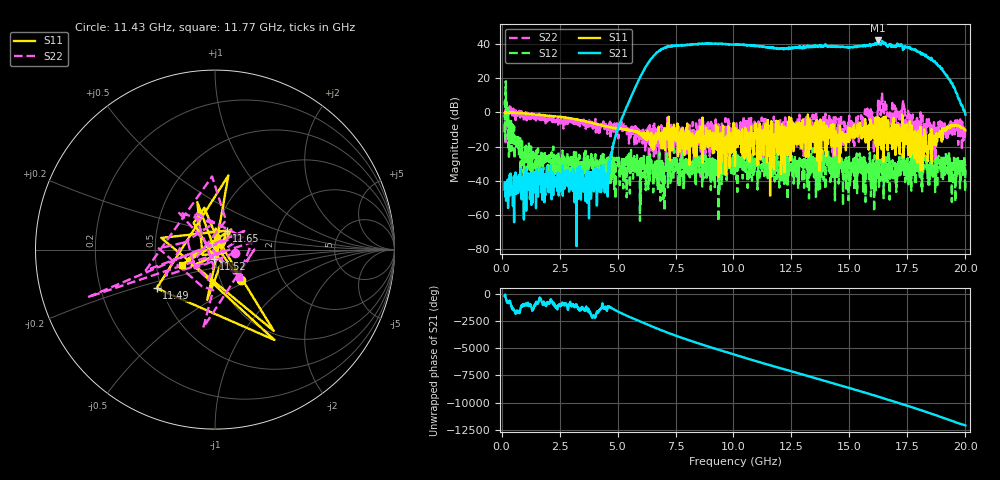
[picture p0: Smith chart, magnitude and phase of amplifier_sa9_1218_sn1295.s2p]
!Created with skrf (http://scikit-rf.org).
# GHz S RI R 50.0
!freq ReS11 ImS11 ReS21 ImS21 ReS12 ImS12 ReS22 ImS22
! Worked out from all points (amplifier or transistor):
!   1601 points, 130 MHz to 20 GHz, reference 50 ohm
!   highest |S21| = 42.2 dB at 16.24 GHz (marker M1)
!   |S21| within 3 dB of that: 7.674 GHz to 10.72 GHz (3.046 GHz wide, 33.1 % of centre)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
!   unconditionally stable (mu >= 1): 880.2 MHz to 1.035 GHz; 1.037 GHz to 6.134 GHz; 19.33 GHz to end of sweep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
!   at 3.433 GHz: K = 559.07, MAG = -32.6 dB, |S12| = -31.6 dB
!   at 10.06 GHz: K = 1.58, MSG = 35.4 dB, |S12| = -30.9 dB
!   at 20 GHz: K = 15.75, MAG = -0.3 dB, |S12| = -30.6 dB
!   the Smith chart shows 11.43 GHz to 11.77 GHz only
!   S11 on the Smith chart (normalised r, x): 11.43 GHz: 1.25, -0.44; 11.49 GHz: 0.47, -0.24; 11.52 GHz: 0.98, -0.11; 11.65 GHz: 1.11, +0.24; 11.77 GHz: 0.68, -0.12
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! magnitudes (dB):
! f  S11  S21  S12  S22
! 130 MHz  -0.4  -45.3  -11.7  4.2
! 1.459 GHz  -1.3  -37.5  -28.1  -3.9
! 3.446 GHz  -4.7  -40.2  -32.7  -5.2
! 4.514 GHz  -8.1  -36.0  -46.5  -9.0
! 5.184 GHz  -9.6  -3.3  -28.6  -8.3
! 6.762 GHz  -13.6  35.7  -43.8  -18.2
! 10.06 GHz  -31.3  39.8  -30.9  -19.4
! 11.43 GHz  -13.2  38.3  -30.7  -18.9
! 11.49 GHz  -8.2  38.2  -29.5  -12.9
! 11.52 GHz  -25.3  38.1  -32.1  -13.2
! 11.65 GHz  -18.1  37.9  -34.3  -16.9
! 11.77 GHz  -13.8  37.8  -36.4  -13.8
! 13.38 GHz  -15.6  38.9  -32.2  -18.0
! 14.37 GHz  -16.9  38.7  -51.6  -11.5
! 15.74 GHz  -13.0  39.5  -34.6  1.1
! 16.1 GHz  -13.9  40.2  -25.8  -6.4
! 16.24 GHz  -9.3  42.2  -29.6  6.9
! 16.7 GHz  -14.6  39.6  -32.5  -14.6
! 17.18 GHz  -12.9  39.4  -28.2  -16.5
! 17.29 GHz  -3.0  37.6  -27.4  4.2
! 18.63 GHz  -14.9  29.7  -32.4  -11.3
! 20 GHz  -10.6  -1.3  -30.6  -9.3
